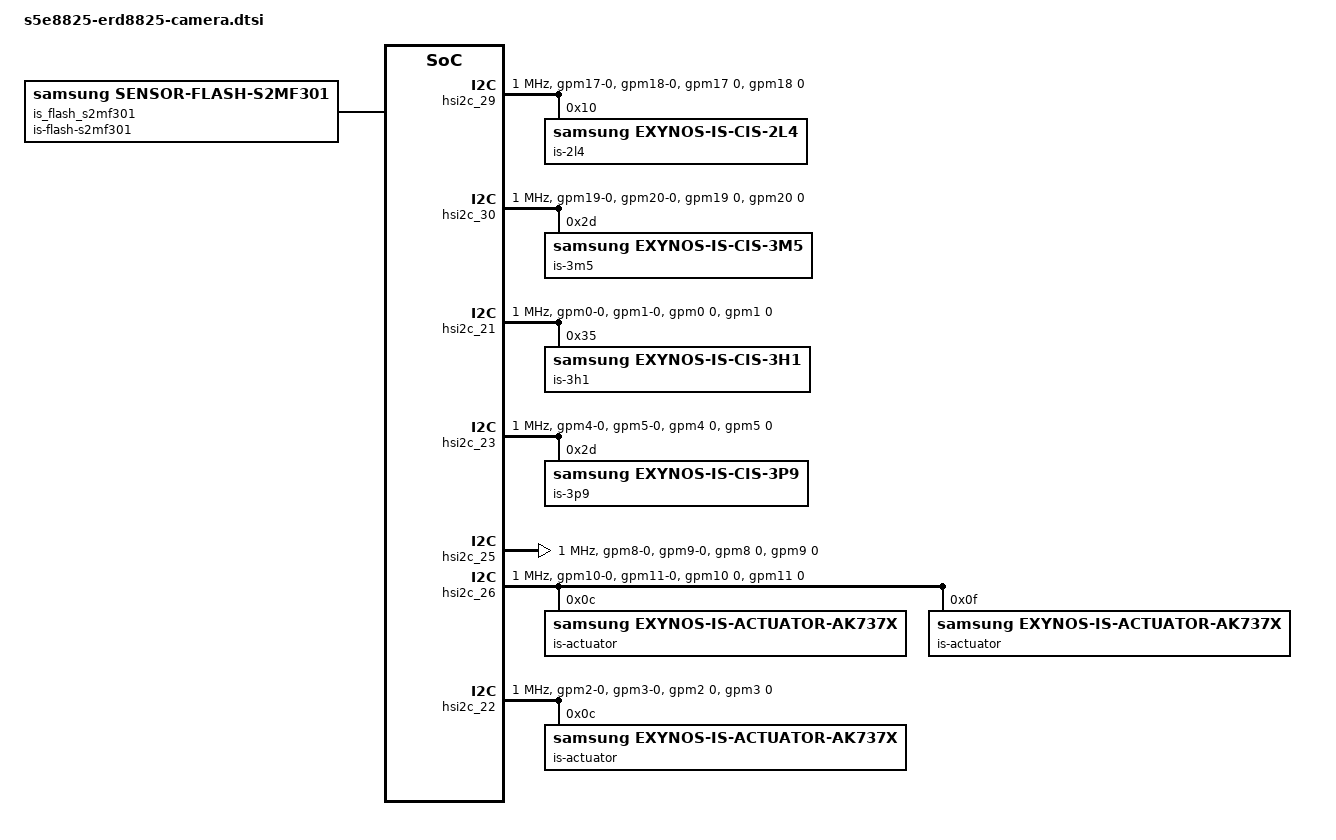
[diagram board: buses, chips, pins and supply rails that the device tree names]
/*
 * Samsung Exynos SoC series Pablo driver
 *
 * Copyright (c) 2020 Samsung Electronics Co., Ltd
 *
 * This program is free software; you can redistribute it and/or modify
 * it under the terms of the GNU General Public License version 2 as
 * published by the Free Software Foundation.
 */

#include <dt-bindings/camera/exynos_is_dt.h>

#include "module_2l4.dtsi"
#include "module_3m5.dtsi"
#include "module_3p9.dtsi"
#include "module_3h1_26m.dtsi"

/ {
	fragment@camera {
		target-path = "/";
		__overlay__ {
			#address-cells = <2>;
			#size-cells = <1>;
			interrupt-parent = <&gic>;

			/* REAR CAMERA */
			is_sensor_2l4: is_sensor_2l4@20 {
				pinctrl-names = "pin0", "pin1", "pin2", "release";
				pinctrl-0 = <>;
				pinctrl-1 = <&sensor_mclk0_out>;
				pinctrl-2 = <&sensor_mclk0_fn>;
				pinctrl-3 = <>;

				/* board */
				position = <0>;	/* Rear:0. Front:1. Rear_sub:2. Secure:3. */
				id = <0>; /* is_sensor id */
				mclk_ch = <0>;
				sensor_i2c_ch = <1>; /* SENSOR_CONTROL_I2C1 */

				/* peri */
				af {
					product_name = <18>; /* ACTUATOR_NAME_AK737X : ak7371 or ak7374 */
					i2c_ch = <3>; /* SENSOR_CONTROL_I2C3 */
				};

				flash {
					product_name = <19>; /* S2MF301 */
				};

				ois {
					product_name = <100>; /* NOTHING */
				};

				vc_extra {
					/* ex) statX = <stat_type, sensor_mode, max_width, max_height, max_element> */
					stat0 = </* not avaliable */>;									/* VC_BUF_DATA_TYPE_SENSOR_STAT1 */
					stat1 = </*VC_STAT_TYPE_PDP_3_1_PDAF_STAT0*/ 1000 /*VC_SENSOR_MODE_2PD_MODE3*/ 102 1756 1 1>;	/* VC_BUF_DATA_TYPE_GENERAL_STAT1 */
					stat2 = </* not avaliable */>;									/* VC_BUF_DATA_TYPE_SENSOR_STAT2 */
					stat3 = </*VC_STAT_TYPE_PDP_3_1_PDAF_STAT1*/ 1001 /*VC_SENSOR_MODE_2PD_MODE3*/ 102 39424 1 1>;	/* VC_BUF_DATA_TYPE_GENERAL_STAT2 */
				};

				modes {
					mode0 {
						common = <4032 3024 30 0 0 CSI_DATA_LANES_4 2054 CSI_MODE_VC_DT LRTE_DISABLE PD_MOD3 EX_NONE>;
						vc3 = </* in */ 0 HW_FORMAT_EMBEDDED_8BIT 0 0	/* out */ HW_FORMAT_USER VC_PRIVATE 1756 1>;
					};
					mode1 {
						common = <4032 2268 60 0 1 CSI_DATA_LANES_4 2177 CSI_MODE_VC_DT LRTE_DISABLE PD_MOD3 EX_NONE>;
						vc3 = </* in */ 0 HW_FORMAT_EMBEDDED_8BIT 0 0	/* out */ HW_FORMAT_USER VC_PRIVATE 1756 1>;
					};
					mode2 {
						common = <4032 2268 30 0 2 CSI_DATA_LANES_4 2054 CSI_MODE_VC_DT LRTE_DISABLE PD_MOD3 EX_NONE>;
						vc3 = </* in */ 0 HW_FORMAT_EMBEDDED_8BIT 0 0	/* out */ HW_FORMAT_USER VC_PRIVATE 1756 1>;
					};
					mode3 {
						common = <4032 1908 30 0 3 CSI_DATA_LANES_4 2054 CSI_MODE_VC_DT LRTE_DISABLE PD_MOD3 EX_NONE>;
						vc3 = </* in */ 0 HW_FORMAT_EMBEDDED_8BIT 0 0	/* out */ HW_FORMAT_USER VC_PRIVATE 1756 1>;
					};
					mode4 {
						common = <3024 3024 30 0 4 CSI_DATA_LANES_4 2054 CSI_MODE_VC_DT LRTE_DISABLE PD_MOD3 EX_NONE>;
						vc3 = </* in */ 0 HW_FORMAT_EMBEDDED_8BIT 0 0	/* out */ HW_FORMAT_USER VC_PRIVATE 1756 1>;
					};
					mode5 {
						common = <2016 1512 30 0 5 CSI_DATA_LANES_4 1352 CSI_MODE_VC_DT LRTE_DISABLE PD_MOD3 EX_NONE>;
						vc3 = </* in */ 0 HW_FORMAT_EMBEDDED_8BIT 0 0	/* out */ HW_FORMAT_USER VC_PRIVATE 1756 1>;
					};
					mode6 {
						common = <2016 1134 30 0 6 CSI_DATA_LANES_4 1352 CSI_MODE_VC_DT LRTE_DISABLE PD_MOD3 EX_NONE>;
						vc3 = </* in */ 0 HW_FORMAT_EMBEDDED_8BIT 0 0	/* out */ HW_FORMAT_USER VC_PRIVATE 1756 1>;
					};
					mode7 {
						common = <1504 1504 30 0 7 CSI_DATA_LANES_4 1352 CSI_MODE_VC_DT LRTE_DISABLE PD_MOD3 EX_NONE>;
						vc3 = </* in */ 0 HW_FORMAT_EMBEDDED_8BIT 0 0	/* out */ HW_FORMAT_USER VC_PRIVATE 1756 1>;
					};
					/* MODE 3 - 24fps LIVE FOCUS */
					mode8 {
						common = <4032 3024 24 0 8 CSI_DATA_LANES_4 2054 CSI_MODE_VC_DT LRTE_DISABLE PD_MOD3 EX_LIVEFOCUS>;
						vc3 = </* in */ 0 HW_FORMAT_EMBEDDED_8BIT 0 0	/* out */ HW_FORMAT_USER VC_PRIVATE 1756 1>;
					};
					mode9 {
						common = <4032 2268 24 0 9 CSI_DATA_LANES_4 2054 CSI_MODE_VC_DT LRTE_DISABLE PD_MOD3 EX_LIVEFOCUS>;
						vc3 = </* in */ 0 HW_FORMAT_EMBEDDED_8BIT 0 0	/* out */ HW_FORMAT_USER VC_PRIVATE 1756 1>;
					};
					mode10 {
						common = <4032 1908 24 0 10 CSI_DATA_LANES_4 2054 CSI_MODE_VC_DT LRTE_DISABLE PD_MOD3 EX_LIVEFOCUS>;
						vc3 = </* in */ 0 HW_FORMAT_EMBEDDED_8BIT 0 0	/* out */ HW_FORMAT_USER VC_PRIVATE 1756 1>;
					};
					mode11 {
						common = <3024 3024 24 0 11 CSI_DATA_LANES_4 2054 CSI_MODE_VC_DT LRTE_DISABLE PD_MOD3 EX_LIVEFOCUS>;
						vc3 = </* in */ 0 HW_FORMAT_EMBEDDED_8BIT 0 0	/* out */ HW_FORMAT_USER VC_PRIVATE 1756 1>;
					};
					/* MODE 2 */
					mode12 {
						common = <2016 1134 240 0 12 CSI_DATA_LANES_4 2054 CSI_MODE_VC_DT LRTE_DISABLE PD_NONE EX_NONE>;
						vc3 = </* in */ 0 HW_FORMAT_EMBEDDED_8BIT 0 0	/* out */ HW_FORMAT_UNKNOWN VC_NOTHING 0 0>;
					};
					mode13 {
						common = <1008 756 120 0 13 CSI_DATA_LANES_4 2054 CSI_MODE_VC_DT LRTE_DISABLE PD_NONE EX_NONE>;
						vc3 = </* in */ 0 HW_FORMAT_EMBEDDED_8BIT 0 0	/* out */ HW_FORMAT_UNKNOWN VC_NOTHING 0 0>;
					};
				};

				power_seq {
					use = <1>;
					gpio_mclk = <&gpg0 2 0x1>;

					scenario_normal_on {
						sensor_scenario = <SENSOR_SCENARIO_NORMAL>;
						gpio_scenario = <GPIO_SCENARIO_ON>;

						/* A start node number should be over the 10 for reserved number 0~9. */
						/* pname = "name"; pin = <act value dealy voltage>; gpio = <gpx# # 0x1>; */
						10 { pname = "sen_rst low"; pin = <PIN_OUTPUT 0 0>; gpio = <&gpg1 0 0x1>; };
						20 { pname = "S2MPB03_LD04"; pin = <PIN_REGULATOR 1 1 1025000>; };
						30 { pname = "VDDA_2.8V_SUB"; pin = <PIN_REGULATOR 1 0>; };
						40 { pname = "VDDA_2.8V_CAM"; pin = <PIN_REGULATOR 1 1>; };
						50 { pname = "VDDD_1.05V_SUB"; pin = <PIN_REGULATOR 1 1>; };
						60 { pname = "VDD_VM_2.8V_OIS"; pin = <PIN_REGULATOR 1 1>; };
						70 { pname = "VDDIO_1.8V_CAM"; pin = <PIN_REGULATOR 1 1>; };
						80 { pname = "VDDAF_COMMON_CAM"; pin = <PIN_REGULATOR 1 1>; };
						90 { pname = "VDDD_1.05V_CAM"; pin = <PIN_REGULATOR 1 1000>; };
						100 { pname; pin; };
						110 { pname = "on_i2c"; pin = <PIN_I2C 1 0>; };
						120 { pname = "pin"; pin = <PIN_FUNCTION 2 0>; };
						130 { pname = "MCLK"; pin = <PIN_MCLK 1 1500>; share = <SRT_ACQUIRE SHARED_PIN0 1>; };
						140 { pname = "sen_rst high"; pin = <PIN_OUTPUT 1 3000>; gpio = <&gpg1 0 0x1>; };
						150 { pname; pin; gpio; };
					};

					scenario_vision_on {
						sensor_scenario = <SENSOR_SCENARIO_VISION>;
						gpio_scenario = <GPIO_SCENARIO_ON>;

						/* A start node number should be over the 10 for reserved number 0~9. */
						/* pname = "name"; pin = <act value dealy voltage>; gpio = <gpx# # 0x1>; */
						10 { pname = "sen_rst low"; pin = <PIN_OUTPUT 0 0>; gpio = <&gpg1 0 0x1>; };
						20 { pname = "S2MPB03_LD04"; pin = <PIN_REGULATOR 1 1 1025000>; };
						30 { pname = "VDDA_2.8V_SUB"; pin = <PIN_REGULATOR 1 0>; };
						40 { pname = "VDDA_2.8V_CAM"; pin = <PIN_REGULATOR 1 1>; };
						50 { pname = "VDDD_1.05V_SUB"; pin = <PIN_REGULATOR 1 1>; };
						60 { pname = "VDD_VM_2.8V_OIS"; pin = <PIN_REGULATOR 1 1>; };
						70 { pname = "VDDIO_1.8V_CAM"; pin = <PIN_REGULATOR 1 1>; };
						80 { pname = "VDDAF_COMMON_CAM"; pin = <PIN_REGULATOR 1 1>; };
						90 { pname = "VDDD_1.05V_CAM"; pin = <PIN_REGULATOR 1 1000>; };
						100 { pname; pin; };
						110 { pname = "on_i2c"; pin = <PIN_I2C 1 0>; };
						120 { pname = "pin"; pin = <PIN_FUNCTION 2 0>; };
						130 { pname = "MCLK"; pin = <PIN_MCLK 1 1500>; share = <SRT_ACQUIRE SHARED_PIN0 1>; };
						140 { pname = "sen_rst high"; pin = <PIN_OUTPUT 1 3000>; gpio = <&gpg1 0 0x1>; };
						150 { pname; pin; gpio; };
					};

					scenario_hw_init_normal_on {
						/* HW INIT (without ois power control) */
						sensor_scenario = <SENSOR_SCENARIO_HW_INIT>;
						gpio_scenario = <GPIO_SCENARIO_ON>;

						10 { pname; pin; gpio; };
						20 { pname; pin; gpio; };
						30 { pname; pin; gpio; };
						40 { pname; pin; gpio; };
						50 { pname; pin; gpio; };
						60 { pname; pin; gpio; };
						70 { pname; pin; gpio; };
						80 { pname; pin; gpio; };
						90 { pname; pin; gpio; };
						100 { pname; pin; gpio; };
						110 { pname; pin; gpio; };
						120 { pname; pin; gpio; };
					};

					scenario_normal_off {
						sensor_scenario = <SENSOR_SCENARIO_NORMAL>;
						gpio_scenario = <GPIO_SCENARIO_OFF>;

						/* A start node number should be over the 10 for reserved number 0~9. */
						/* pname = "name"; pin = <act value dealy voltage>; gpio = <gpx# # 0x1>; */
						10 { pname = "VDD_VM_2.8V_OIS"; pin = <PIN_REGULATOR 0 10>; };
						20 { pname = "VDDD_1.05V_CAM"; pin = <PIN_REGULATOR 0 1>; };
						30 { pname = "VDDD_1.05V_SUB"; pin = <PIN_REGULATOR 0 10>; };
						40 { pname = "VDDA_2.8V_SUB"; pin = <PIN_REGULATOR 0 0>; };
						50 { pname = "VDDA_2.8V_CAM"; pin = <PIN_REGULATOR 0 0>; };
						60 { pname = "MCLK"; pin = <PIN_MCLK 0 0>; share = <SRT_RELEASE SHARED_PIN0 0>; };
						70 { pname = "pin"; pin = <PIN_FUNCTION 0 0>; };
						80 { pname = "pin"; pin = <PIN_FUNCTION 1 0>; };
						90 { pname = "pin"; pin = <PIN_FUNCTION 0 0>; };
						100 { pname = "sen_rst low"; pin = <PIN_OUTPUT 0 10>; gpio = <&gpg1 0 0x1>; };
						110 { pname; pin; gpio; };
						120 { pname = "off_i2c"; pin = <PIN_I2C 0 0>; };
						130 { pname; pin; gpio; };
						140 { pname = "VDDAF_COMMON_CAM"; pin = <PIN_REGULATOR 0 0>; };
						150 { pname = "S2MPB03_LD04"; pin = <PIN_REGULATOR 0 100>; };
						160 { pname = "VDDIO_1.8V_CAM"; pin = <PIN_REGULATOR 0 10>; };
					};

					scenario_vision_off {
						sensor_scenario = <SENSOR_SCENARIO_VISION>;
						gpio_scenario = <GPIO_SCENARIO_OFF>;

						/* A start node number should be over the 10 for reserved number 0~9. */
						/* pname = "name"; pin = <act value dealy voltage>; gpio = <gpx# # 0x1>; */
						10 { pname = "VDD_VM_2.8V_OIS"; pin = <PIN_REGULATOR 0 10>; };
						20 { pname = "VDDD_1.05V_CAM"; pin = <PIN_REGULATOR 0 1>; };
						30 { pname = "VDDD_1.05V_SUB"; pin = <PIN_REGULATOR 0 10>; };
						40 { pname = "VDDA_2.8V_SUB"; pin = <PIN_REGULATOR 0 0>; };
						50 { pname = "VDDA_2.8V_CAM"; pin = <PIN_REGULATOR 0 0>; };
						60 { pname = "MCLK"; pin = <PIN_MCLK 0 0>; share = <SRT_RELEASE SHARED_PIN0 0>; };
						70 { pname = "pin"; pin = <PIN_FUNCTION 0 0>; };
						80 { pname = "pin"; pin = <PIN_FUNCTION 1 0>; };
						90 { pname = "pin"; pin = <PIN_FUNCTION 0 0>; };
						100 { pname = "sen_rst low"; pin = <PIN_OUTPUT 0 10>; gpio = <&gpg1 0 0x1>; };
						110 { pname; pin; gpio; };
						120 { pname = "off_i2c"; pin = <PIN_I2C 0 0>; };
						130 { pname; pin; gpio; };
						140 { pname = "VDDAF_COMMON_CAM"; pin = <PIN_REGULATOR 0 0>; };
						150 { pname = "S2MPB03_LD04"; pin = <PIN_REGULATOR 0 100>; };
						160 { pname = "VDDIO_1.8V_CAM"; pin = <PIN_REGULATOR 0 10>; };
					};

					scenario_retention_on {
						sensor_scenario = <SENSOR_SCENARIO_NORMAL>;
						gpio_scenario = <GPIO_SCENARIO_SENSOR_RETENTION_ON>;

						/* A start node number should be over the 10 for reserved number 0~9. */
						/* pname = "name"; pin = <act value dealy voltage>; gpio = <gpx# # 0x1>; */
						10 { pname; pin; gpio; };
						20 { pname; pin; gpio; };
						30 { pname; pin; gpio; };
						40 { pname; pin; gpio; };
						50 { pname; pin; gpio; };
						60 { pname; pin; gpio; };
						70 { pname; pin; gpio; };
						80 { pname; pin; gpio; };
						90 { pname; pin; gpio; };
						100 { pname; pin; gpio; };
						110 { pname; pin; gpio; };
						120 { pname; pin; gpio; };
						130 { pname; pin; gpio; };
						140 { pname; pin; gpio; };
						150 { pname; pin; gpio; };
					};

					scenario_hw_init_retention_on {
						/* RETENTION ON HW INIT(without ois power control) */
						sensor_scenario = <SENSOR_SCENARIO_HW_INIT>;
						gpio_scenario = <GPIO_SCENARIO_SENSOR_RETENTION_ON>;

						10 { pname; pin; gpio; };
						20 { pname; pin; gpio; };
						30 { pname; pin; gpio; };
						40 { pname; pin; gpio; };
						50 { pname; pin; gpio; };
						60 { pname; pin; gpio; };
						70 { pname; pin; gpio; };
						80 { pname; pin; gpio; };
						90 { pname; pin; gpio; };
						100 { pname; pin; gpio; };
						110 { pname; pin; gpio; };
						120 { pname; pin; gpio; };
					};

					scenario_ois_factory_on {
						sensor_scenario = <SENSOR_SCENARIO_OIS_FACTORY>;
						gpio_scenario = <GPIO_SCENARIO_ON>;

						/* A start node number should be over the 10 for reserved number 0~9. */
						/* pname = "name"; pin = <act value dealy voltage>; gpio = <gpx# # 0x1>; */
						10 { pname; pin; gpio; };
						20 { pname; pin; gpio; };
						30 { pname; pin; gpio; };
						40 { pname; pin; gpio; };
						50 { pname; pin; gpio; };
						60 { pname; pin; gpio; };
						70 { pname; pin; gpio; };
					};

					scenario_ois_factory_off {
						sensor_scenario = <SENSOR_SCENARIO_OIS_FACTORY>;
						gpio_scenario = <GPIO_SCENARIO_OFF>;

						/* A start node number should be over the 10 for reserved number 0~9. */
						/* pname = "name"; pin = <act value dealy voltage>; gpio = <gpx# # 0x1>; */
						10 { pname; pin; gpio; };
						20 { pname; pin; gpio; };
						30 { pname; pin; gpio; };
						40 { pname; pin; gpio; };
						50 { pname; pin; gpio; };
						60 { pname; pin; gpio; };
						70 { pname; pin; gpio; };
					};

					scenario_read_rom_on {
						sensor_scenario = <SENSOR_SCENARIO_READ_ROM>;
						gpio_scenario = <GPIO_SCENARIO_ON>;

						/* A start node number should be over the 10 for reserved number 0~9. */
						/* pname = "name"; pin = <act value dealy voltage>; gpio = <gpx# # 0x1>; */
						10 { pname; pin; gpio; };
						20 { pname; pin; gpio; };
						30 { pname; pin; gpio; };
						40 { pname; pin; gpio; };
					};

					scenario_read_rom_off {
						sensor_scenario = <SENSOR_SCENARIO_READ_ROM>;
						gpio_scenario = <GPIO_SCENARIO_OFF>;

						/* A start node number should be over the 10 for reserved number 0~9. */
						/* pname = "name"; pin = <act value dealy voltage>; gpio = <gpx# # 0x1>; */
						10 { pname; pin; gpio; };
						20 { pname; pin; gpio; };
						30 { pname; pin; gpio; };
						40 { pname; pin; gpio; };
					};
				};
			};

			/* Tele CAMERA */
			is_sensor_3m5: is_sensor_3m5@64 {
				pinctrl-names = "pin0", "pin1", "pin2", "release";
				pinctrl-0 = <>;
				pinctrl-1 = <&sensor_mclk0_out>;
				pinctrl-2 = <&sensor_mclk0_fn>;
				pinctrl-3 = <>;

				/* board */
				position = <2>; /* Rear:0. Front:1, Tele:2 */
				id = <2>; /* is_sensor id */
				mclk_ch = <0>;
				sensor_i2c_ch = <0>; /* SENSOR_CONTROL_I2C0 */

				af {
					product_name = <18>; /* ACTUATOR_NAME_AK737X : ak7371 or ak7374 or ak7377*/
					i2c_ch = <3>; /* SENSOR_CONTROL_I2C3 */
				};

				flash {
					product_name = <100>; /* NOTHING */
				};

				preprocessor {
					product_name = <100>; /* NOTHING */
				};

				vc_extra {
					/* ex) statX = <stat_type, sensor_mode, max_width, max_height, max_element> */
					stat0 = </* not avaliable */>;			/* VC_BUF_DATA_TYPE_SENSOR_STAT1 */
					stat1 = </* not avaliable */>;			/* VC_BUF_DATA_TYPE_SENSOR_STAT1 */
					stat2 = </* not avaliable */>;			/* VC_BUF_DATA_TYPE_SENSOR_STAT2 */
					stat3 = </* not avaliable */>;			/* VC_BUF_DATA_TYPE_SENSOR_STAT2 */
				};

				/* sensor modes */
				modes {
					/* common = <width, height, fps, settle, mode, lane, speed, interleave, lrte, pd_mode> */
					/* vcX = <map, hwformat, width, height, hwformat, type, width, height> */
					mode0 {
						common = <2592 1944 30 0 0 CSI_DATA_LANES_2 1456 CSI_MODE_VC_DT LRTE_DISABLE PD_NONE EX_NONE>;
						vc0 = </* in */ 0 HW_FORMAT_RAW10 2592 1944     /* out */ HW_FORMAT_AND10 VC_NOTHING 2592 1944>;
						vc1 = </* in */ 1 HW_FORMAT_UNKNOWN 0 0         /* out */ HW_FORMAT_UNKNOWN VC_NOTHING 0 0>;
					};
				};

				power_seq {
					use = <1>;
					gpio_mclk = <&gpg0 2 0x1>;

					scenario_normal_on {
						sensor_scenario = <SENSOR_SCENARIO_NORMAL>;
						gpio_scenario = <GPIO_SCENARIO_ON>;

						/* A start node number should be over the 10 for reserved number 0~9. */
						/* pname = "name"; pin = <act value dealy voltage>; gpio = <gpx# # 0x1>; */
						10 { pname = "sen_rst low"; pin = <PIN_OUTPUT 0 0>; gpio = <&gpg1 1 0x1>; };
						20 { pname = "VDDAF_2.8V_SUB"; pin = <PIN_REGULATOR 1 1>; };
						30 { pname = "VDDPHY_1.05V_CAM"; pin = <PIN_REGULATOR 1 1>; };
						40 { pname = "S2MPB02_LD15"; pin = <PIN_REGULATOR 1 1>; };
						50 { pname = "VDDIO_1.8V_SUB"; pin = <PIN_REGULATOR 1 1000>; };
						60 { pname = "on_i2c"; pin = <PIN_I2C 1 0>; };
						70 { pname = "sen_rst high"; pin = <PIN_OUTPUT 1 0>; gpio = <&gpg1 1 0x1>; };
						80 { pname = "pin"; pin = <PIN_FUNCTION 2 0>; };
						90 { pname = "MCLK"; pin = <PIN_MCLK 1 1000>; share = <SRT_ACQUIRE SHARED_PIN0 1>; };
					};

					scenario_vision_on {
						sensor_scenario = <SENSOR_SCENARIO_VISION>;
						gpio_scenario = <GPIO_SCENARIO_ON>;

						/* A start node number should be over the 10 for reserved number 0~9. */
						/* pname = "name"; pin = <act value dealy voltage>; gpio = <gpx# # 0x1>; */
						10 { pname = "sen_rst low"; pin = <PIN_OUTPUT 0 0>; gpio = <&gpg1 1 0x1>; };
						20 { pname = "VDDAF_2.8V_SUB"; pin = <PIN_REGULATOR 1 1>; };
						30 { pname = "VDDPHY_1.05V_CAM"; pin = <PIN_REGULATOR 1 1>; };
						40 { pname = "S2MPB02_LD15"; pin = <PIN_REGULATOR 1 1>; };
						50 { pname = "VDDIO_1.8V_SUB"; pin = <PIN_REGULATOR 1 1000>; };
						60 { pname = "on_i2c"; pin = <PIN_I2C 1 0>; };
						70 { pname = "sen_rst high"; pin = <PIN_OUTPUT 1 0>; gpio = <&gpg1 1 0x1>; };
						80 { pname = "pin"; pin = <PIN_FUNCTION 2 0>; };
						90 { pname = "MCLK"; pin = <PIN_MCLK 1 1000>; share = <SRT_ACQUIRE SHARED_PIN0 1>; };
					};

					scenario_normal_off {
						sensor_scenario = <SENSOR_SCENARIO_NORMAL>;
						gpio_scenario = <GPIO_SCENARIO_OFF>;

						/* A start node number should be over the 10 for reserved number 0~9. */
						/* pname = "name"; pin = <act value dealy voltage>; gpio = <gpx# # 0x1>; */
						10 { pname = "sen_rst low"; pin = <PIN_OUTPUT 0 10>; gpio = <&gpg1 1 0x1>; };
						20 { pname = "off_i2c"; pin = <PIN_I2C 0 0>; };
						30 { pname = "S2MPB02_LD15"; pin = <PIN_REGULATOR 0 1>; };
						40 { pname = "VDDAF_2.8V_SUB"; pin = <PIN_REGULATOR 0 1>; };
						50 { pname = "VDDIO_1.8V_SUB"; pin = <PIN_REGULATOR 0 1>; };
						60 { pname = "VDDPHY_1.05V_CAM"; pin = <PIN_REGULATOR 0 100>; };
						70 { pname = "MCLK"; pin = <PIN_MCLK 0 1>; };
						80 { pname = "pin"; pin = <PIN_FUNCTION 0 0>; };
						90 { pname = "pin"; pin = <PIN_FUNCTION 1 0>; };
						100 { pname = "pin"; pin = <PIN_FUNCTION 0 0>; share = <SRT_RELEASE SHARED_PIN0 0>; };
					};

					scenario_vision_off {
						sensor_scenario = <SENSOR_SCENARIO_VISION>;
						gpio_scenario = <GPIO_SCENARIO_OFF>;

						/* A start node number should be over the 10 for reserved number 0~9. */
						/* pname = "name"; pin = <act value dealy voltage>; gpio = <gpx# # 0x1>; */
						10 { pname = "sen_rst low"; pin = <PIN_OUTPUT 0 10>; gpio = <&gpg1 1 0x1>; };
						20 { pname = "off_i2c"; pin = <PIN_I2C 0 0>; };
						30 { pname = "S2MPB02_LD15"; pin = <PIN_REGULATOR 0 1>; };
						40 { pname = "VDDAF_2.8V_SUB"; pin = <PIN_REGULATOR 0 1>; };
						50 { pname = "VDDIO_1.8V_SUB"; pin = <PIN_REGULATOR 0 1>; };
						60 { pname = "VDDPHY_1.05V_CAM"; pin = <PIN_REGULATOR 0 100>; };
						70 { pname = "MCLK"; pin = <PIN_MCLK 0 1>; };
						80 { pname = "pin"; pin = <PIN_FUNCTION 0 0>; };
						90 { pname = "pin"; pin = <PIN_FUNCTION 1 0>; };
						100 { pname = "pin"; pin = <PIN_FUNCTION 0 0>; share = <SRT_RELEASE SHARED_PIN0 0>; };
					};
				};
			};

			/* Ultra Wide CAMERA */
			is_sensor_3p9: is_sensor_3p9@2D {
				pinctrl-names = "pin0", "pin1", "pin2", "release";
				pinctrl-0 = <>;
				pinctrl-1 = <&sensor_mclk1_out>;
				pinctrl-2 = <&sensor_mclk1_fn>;
				pinctrl-3 = <>;

				/* board */
				position = <4>; /* Rear:0. Front:1, Tele:2 */
				id = <4>; /* is_sensor id */
				mclk_ch = <1>;
				sensor_i2c_ch = <5>; /* SENSOR_CONTROL_I2C5 */

				af {
					product_name = <100>; /* NOTHING */
				};

				flash {
					product_name = <100>; /* NOTHING */
				};

				preprocessor {
					product_name = <100>; /* NOTHING */
				};

				ois {
					product_name = <100>; /* NOTHING */
				};

				power_seq {
					use = <1>;
					gpio_mclk = <&gpg0 3 0x1>;

					scenario_normal_on {
						sensor_scenario = <SENSOR_SCENARIO_NORMAL>;
						gpio_scenario = <GPIO_SCENARIO_ON>;

						/* A start node number should be over the 10 for reserved number 0~9. */
						/* pname = "name"; pin = <act value dealy voltage>; gpio = <gpx# # 0x1>; */
						10 { pname = "sen_rst low"; pin = <PIN_OUTPUT 0 0>; gpio = <&gpm6 0 0x1>; };
						20 { pname = "VDDA_2.8V_WIDESUB"; pin = <PIN_REGULATOR 1 0>; };
						30 { pname = "VDDIO_1.8V_WIDESUB"; pin = <PIN_REGULATOR 1 0>; };
						40 { pname = "VDDD_1.05V_WIDESUB"; pin = <PIN_REGULATOR 1 0>; };
						50 { pname = "on_i2c"; pin = <PIN_I2C 1 0>; };
						60 { pname = "pin"; pin = <PIN_FUNCTION 2 0>; };
						70 { pname = "MCLK"; pin = <PIN_MCLK 1 0>; };
						80 { pname = "sen_rst high"; pin = <PIN_OUTPUT 1 0>; gpio = <&gpm6 0 0x1>; };
					};

					scenario_normal_off {
						sensor_scenario = <SENSOR_SCENARIO_NORMAL>;
						gpio_scenario = <GPIO_SCENARIO_OFF>;

						/* A start node number should be over the 10 for reserved number 0~9. */
						/* pname = "name"; pin = <act value dealy voltage>; gpio = <gpx# # 0x1>; */
						10 { pname = "VDDA_2.8V_WIDESUB"; pin = <PIN_REGULATOR 0 0>; };
						20 { pname = "VDDD_1.05V_WIDESUB"; pin = <PIN_REGULATOR 0 0>; };
						30 { pname = "MCLK"; pin = <PIN_MCLK 0 0>; };
						40 { pname = "pin"; pin = <PIN_FUNCTION 0 0>; };
						50 { pname = "sen_rst"; pin = <PIN_OUTPUT 0 0>; gpio = <&gpm6 0 0x1>; };
						60 { pname = "off_i2c"; pin = <PIN_I2C 0 0>; };
						70 { pname = "VDDIO_1.8V_WIDESUB"; pin = <PIN_REGULATOR 0 0>; };
					};

					scenario_vision_on {
						sensor_scenario = <SENSOR_SCENARIO_VISION>;
						gpio_scenario = <GPIO_SCENARIO_ON>;

						/* A start node number should be over the 10 for reserved number 0~9. */
						/* pname = "name"; pin = <act value dealy voltage>; gpio = <gpx# # 0x1>; */
						10 { pname = "sen_rst low"; pin = <PIN_OUTPUT 0 0>; gpio = <&gpm6 0 0x1>; };
						20 { pname = "VDDA_2.8V_WIDESUB"; pin = <PIN_REGULATOR 1 0>; };
						30 { pname = "VDDIO_1.8V_WIDESUB"; pin = <PIN_REGULATOR 1 0>; };
						40 { pname = "VDDD_1.05V_WIDESUB"; pin = <PIN_REGULATOR 1 0>; };
						50 { pname = "on_i2c"; pin = <PIN_I2C 1 0>; };
						60 { pname = "pin"; pin = <PIN_FUNCTION 2 0>; };
						70 { pname = "MCLK"; pin = <PIN_MCLK 1 0>; };
						80 { pname = "sen_rst high"; pin = <PIN_OUTPUT 1 0>; gpio = <&gpm6 0 0x1>; };
					};

					scenario_vision_off {
						sensor_scenario = <SENSOR_SCENARIO_VISION>;
						gpio_scenario = <GPIO_SCENARIO_OFF>;

						/* A start node number should be over the 10 for reserved number 0~9. */
						/* pname = "name"; pin = <act value dealy voltage>; gpio = <gpx# # 0x1>; */
						10 { pname = "VDDA_2.8V_WIDESUB"; pin = <PIN_REGULATOR 0 0>; };
						20 { pname = "VDDD_1.05V_WIDESUB"; pin = <PIN_REGULATOR 0 0>; };
						30 { pname = "MCLK"; pin = <PIN_MCLK 0 0>; };
						40 { pname = "pin"; pin = <PIN_FUNCTION 0 0>; };
						50 { pname = "sen_rst"; pin = <PIN_OUTPUT 0 0>; gpio = <&gpm6 0 0x1>; };
						60 { pname = "off_i2c"; pin = <PIN_I2C 0 0>; };
						70 { pname = "VDDIO_1.8V_WIDESUB"; pin = <PIN_REGULATOR 0 0>; };
					};
				};
			};

			/* FRONT CAMERA */
			is_sensor_3h1: is_sensor_3h1@31 {
				pinctrl-names = "pin0", "pin1", "pin2", "release";
				pinctrl-0 = <>;
				pinctrl-1 = <&sensor_mclk2_out>;
				pinctrl-2 = <&sensor_mclk2_fn>;
				pinctrl-3 = <>;

				/* board */
				position = <1>;	/* Rear:0. Front:1. Rear_sub:2. Secure:3. */
				id = <1>; /* is_sensor id */
				mclk_ch = <2>;
				sensor_i2c_ch = <4>; /* SENSOR_CONTROL_I2C4 */

				/* peri*/
				af {
					product_name = <18>; /* ACTUATOR_NAME_AK737X */
					i2c_ch = <7>; /* SENSOR_CONTROL_I2C7 */
				};

				flash {
					product_name = <100>; /* NOTHING */
				};

				ois {
					product_name = <100>; /* NOTHING */
				};

				vc_extra {
					/* ex) statX = <stat_type, sensor_mode, max_width, max_height, max_element> */
					stat0 = </* not avaliable */>;									/* VC_BUF_DATA_TYPE_SENSOR_STAT1 */
					stat1 = </* not avaliable */>;									/* VC_BUF_DATA_TYPE_SENSOR_STAT1 */
					stat2 = </* not avaliable */>;									/* VC_BUF_DATA_TYPE_SENSOR_STAT2 */
					stat3 = </* not avaliable */>;									/* VC_BUF_DATA_TYPE_SENSOR_STAT2 */
				};

				power_seq {
					use = <1>;
					gpio_mclk = <&gpg0 4 0x1>;

					scenario_normal_on {
						sensor_scenario = <SENSOR_SCENARIO_NORMAL>;
						gpio_scenario = <GPIO_SCENARIO_ON>;

						/* A start node number should be over the 10 for reserved number 0~9. */
						/* pname = "name"; pin = <act value dealy voltage>; gpio = <gpx# # 0x1>; */
						10 { pname = "sen_rst low"; pin = <PIN_OUTPUT 0 0>; gpio = <&gpm13 0 0x1>; };
						20 { pname = "VDDAF_2.8V_VT"; pin = <PIN_REGULATOR 1 1>; };
						30 { pname = "VDD_2.8V_VT"; pin = <PIN_REGULATOR 1 1>; };
						40 { pname = "VDDIO_1.8V_VT"; pin = <PIN_REGULATOR 1 1>; };
						50 { pname = "VDDD_1.05V_VT"; pin = <PIN_REGULATOR 1 1000>; };
						60 { pname = "on_i2c"; pin = <PIN_I2C 1 0>; };
						70 { pname = "sen_rst high"; pin = <PIN_OUTPUT 1 0>; gpio = <&gpm13 0 0x1>; };
						80 { pname = "pin"; pin = <PIN_FUNCTION 2 0>; };
						90 { pname = "MCLK"; pin = <PIN_MCLK 1 9000>; };
					};

					scenario_vision_on {
						sensor_scenario = <SENSOR_SCENARIO_VISION>;
						gpio_scenario = <GPIO_SCENARIO_ON>;

						/* A start node number should be over the 10 for reserved number 0~9. */
						/* pname = "name"; pin = <act value dealy voltage>; gpio = <gpx# # 0x1>; */
						10 { pname = "sen_rst low"; pin = <PIN_OUTPUT 0 0>; gpio = <&gpm13 0 0x1>; };
						20 { pname = "VDDAF_2.8V_VT"; pin = <PIN_REGULATOR 1 1>; };
						30 { pname = "VDD_2.8V_VT"; pin = <PIN_REGULATOR 1 1>; };
						40 { pname = "VDDIO_1.8V_VT"; pin = <PIN_REGULATOR 1 1>; };
						50 { pname = "VDDD_1.05V_VT"; pin = <PIN_REGULATOR 1 1000>; };
						60 { pname = "on_i2c"; pin = <PIN_I2C 1 0>; };
						70 { pname = "sen_rst high"; pin = <PIN_OUTPUT 1 0>; gpio = <&gpm13 0 0x1>; };
						80 { pname = "pin"; pin = <PIN_FUNCTION 2 0>; };
						90 { pname = "MCLK"; pin = <PIN_MCLK 1 9000>; };
					};

					scenario_normal_off {
						sensor_scenario = <SENSOR_SCENARIO_NORMAL>;
						gpio_scenario = <GPIO_SCENARIO_OFF>;

						/* A start node number should be over the 10 for reserved number 0~9. */
						/* pname = "name"; pin = <act value dealy voltage>; gpio = <gpx# # 0x1>; */
						10 { pname = "MCLK"; pin = <PIN_MCLK 0 1>; };
						20 { pname = "pin"; pin = <PIN_FUNCTION 0 0>; };
						30 { pname = "pin"; pin = <PIN_FUNCTION 1 0>; };
						40 { pname = "pin"; pin = <PIN_FUNCTION 0 0>; };
						50 { pname = "sen_rst low"; pin = <PIN_OUTPUT 0 10>; gpio = <&gpm13 0 0x1>; };
						60 { pname = "off_i2c"; pin = <PIN_I2C 0 0>; };
						70 { pname = "VDDAF_2.8V_VT"; pin = <PIN_REGULATOR 0 1>; };
						80 { pname = "VDD_2.8V_VT"; pin = <PIN_REGULATOR 0 1>; };
						90 { pname = "VDDIO_1.8V_VT"; pin = <PIN_REGULATOR 0 1>; };
						100 { pname = "VDDD_1.05V_VT"; pin = <PIN_REGULATOR 0 100>; };
					};

					scenario_vision_off {
						sensor_scenario = <SENSOR_SCENARIO_VISION>;
						gpio_scenario = <GPIO_SCENARIO_OFF>;

						/* A start node number should be over the 10 for reserved number 0~9. */
						/* pname = "name"; pin = <act value dealy voltage>; gpio = <gpx# # 0x1>; */
						10 { pname = "MCLK"; pin = <PIN_MCLK 0 1>; };
						20 { pname = "pin"; pin = <PIN_FUNCTION 0 0>; };
						30 { pname = "pin"; pin = <PIN_FUNCTION 1 0>; };
						40 { pname = "pin"; pin = <PIN_FUNCTION 0 0>; };
						50 { pname = "sen_rst low"; pin = <PIN_OUTPUT 0 10>; gpio = <&gpm13 0 0x1>; };
						60 { pname = "off_i2c"; pin = <PIN_I2C 0 0>; };
						70 { pname = "VDDAF_2.8V_VT"; pin = <PIN_REGULATOR 0 1>; };
						80 { pname = "VDD_2.8V_VT"; pin = <PIN_REGULATOR 0 1>; };
						90 { pname = "VDDIO_1.8V_VT"; pin = <PIN_REGULATOR 0 1>; };
						100 { pname = "VDDD_1.05V_VT"; pin = <PIN_REGULATOR 0 100>; };
					};

					scenario_read_rom_on {
						sensor_scenario = <SENSOR_SCENARIO_READ_ROM>;
						gpio_scenario = <GPIO_SCENARIO_ON>;

						/* A start node number should be over the 10 for reserved number 0~9. */
						/* pname = "name"; pin = <act value dealy voltage>; gpio = <gpx# # 0x1>; */
						10 { pname; pin; gpio; };
						20 { pname; pin; gpio; };
					};

					scenario_read_rom_off {
						sensor_scenario = <SENSOR_SCENARIO_READ_ROM>;
						gpio_scenario = <GPIO_SCENARIO_OFF>;

						/* A start node number should be over the 10 for reserved number 0~9. */
						/* pname = "name"; pin = <act value dealy voltage>; gpio = <gpx# # 0x1>; */
						10 { pname; pin; gpio; };
						20 { pname; pin; gpio; };
					};
				};
			};

			is_flash_s2mf301: is-flash-s2mf301@0 {
				compatible = "samsung,sensor-flash-s2mf301";
				sensor-module = <&is_sensor_2l4>;
				id = <0>;
				led_ch = <1>;
				status = "okay";
			};

			/* REAR CAMERA */
			is_sensor0: is_sensor0@15030000 {
				#address-cells = <1>;
				#size-cells = <1>;
				scenario = <SENSOR_SCENARIO_NORMAL>;	/* Normal, Vision, OIS etc */
				id = <0>;
				csi_ch = <0>;
				status = "okay";
				use_cphy = <0>;

				interrupts = <0 INTREQ__CSIS0 IRQ_TYPE_LEVEL_HIGH>; /*MIPI-CSI0 */
				interrupt-names = "csi";
				phys = <&mipi_phy_csis0_m0s4s4s4s4s2s1 0>;
				phy_setfile = <&d_phy_setfile>;
			};

			/* FRONT CAMERA */
			is_sensor1: is_sensor1@15040000 {
				#address-cells = <1>;
				#size-cells = <1>;
				reg = <0x0 0x15060000 0x1000>, /* MIPI-CSI3 */
					<0x0 0x150F0000 0x10000>; /* PHY: M0S4S4S4S4S2S1 */
				scenario = <SENSOR_SCENARIO_NORMAL>;    /* Normal, Vision, OIS etc */
				id = <1>;
				csi_ch = <3>;
				status = "okay";
				use_cphy = <0>;

				interrupts = <0 INTREQ__CSIS3 IRQ_TYPE_LEVEL_HIGH>; /* MIPI-CSI3 */
				interrupt-names = "csi";
				phys = <&mipi_phy_csis3_m0s4s4s4s4s2s1 0>;
				phy_setfile = <&d_phy_setfile>;
			};

			/* Tele CAMERA */
			is_sensor2: is_sensor2@15050000 {
				#address-cells = <1>;
				#size-cells = <1>;
				reg = <0x0 0x15040000 0x1000>, /* MIPI-CSI1 */
					<0x0 0x150F0000 0x10000>; /* PHY: M0S4S4S4S4S2S1 */
				scenario = <SENSOR_SCENARIO_NORMAL>;    /* Normal, Vision, OIS etc */
				id = <2>;
				csi_ch = <1>;
				status = "okay";

				interrupts = <0 INTREQ__CSIS1 IRQ_TYPE_LEVEL_HIGH>; /* MIPI-CSI1 */
				interrupt-names = "csi";
				phys = <&mipi_phy_csis1_m0s4s4s4s4s2s1 0>;
				phy_setfile = <&d_phy_setfile>;
			};

			/* ULTRA WIDE CAMERA */
			is_sensor4: is_sensor4@15070000 {
				#address-cells = <1>;
				#size-cells = <1>;
				reg = <0x0 0x15050000 0x1000>, /* MIPI-CSI2 */
					<0x0 0x150F0000 0x10000>; /* PHY: M0S4S4S4S4S2S1 */
				scenario = <SENSOR_SCENARIO_NORMAL>;    /* Normal, Vision, OIS etc */
				id = <4>;
				csi_ch = <2>;
				status = "okay";

				interrupts = <0 INTREQ__CSIS2 IRQ_TYPE_LEVEL_HIGH>; /* MIPI-CSI2 */
				phys = <&mipi_phy_csis2_m0s4s4s4s4s2s1 0>;
				phy_setfile = <&d_phy_setfile>;
			};

			/* FRONT2 CAMERA : 2+2 lane */
			is_sensor3: is_sensor3@15060000 {
				#address-cells = <1>;
				#size-cells = <1>;
				reg = <0x0 0x15070000 0x1000>, /* MIPI-CSI4 */
					<0x0 0x150F0000 0x10000>; /* PHY: M0S4S4S4S4S2S1 */
				scenario = <SENSOR_SCENARIO_NORMAL>;    /* Normal, Vision, OIS etc */
				id = <3>;
				csi_ch = <4>;
				status = "okay";

				interrupts = <0 INTREQ__CSIS4 IRQ_TYPE_LEVEL_HIGH>; /* MIPI-CSI2 */
				phys = <&mipi_phy_csis2_m0s4s4s4s4s2s1 0>;
				phy_setfile = <&phy_setfile_e>;
			};
		}; /* end of __overlay__ */
	}; /* end of fragment */
}; /* end of root */

/***** reference symbol node *****/
/* GPIO_PERI */
&pinctrl_1 {
	/* REAR WIDE : i2c1 */
	hsi2c29_bus: hsi2c29-bus {
		samsung,pins = "gpm17-0", "gpm18-0";
		samsung,pin-function = <2>;
		samsung,pin-pud = <3>;
		samsung,pin-drv = <0>;
	};

	hsi2c29_bus_in: hsi2c29-bus-in {
		samsung,pins = "gpm17-0", "gpm18-0";
		samsung,pin-function = <0>;
		samsung,pin-pud = <3>;
		samsung,pin-drv = <0>;
	};

	/* REAR TELE AF : i2c0 */
	hsi2c26_bus: hsi2c26-bus {
		samsung,pins = "gpm10-0", "gpm11-0";
		samsung,pin-function = <3>;
		samsung,pin-pud = <3>;
		samsung,pin-drv = <0>;
	};

	hsi2c26_bus_in: hsi2c26-bus-in {
		samsung,pins = "gpm10-0", "gpm11-0";
		samsung,pin-function = <0>;
		samsung,pin-pud = <3>;
		samsung,pin-drv = <0>;
	};

	/* REAR OIS i2c2 */
	hsi2c25_bus: hsi2c25-bus {
		samsung,pins = "gpm8-0", "gpm9-0";
		samsung,pin-function = <2>;
		samsung,pin-pud = <3>;
		samsung,pin-drv = <0>;
	};

	hsi2c25_bus_in: hsi2c25-bus-n {
		samsung,pins = "gpm8-0", "gpm9-0";
		samsung,pin-function = <0>;
		samsung,pin-pud = <3>;
		samsung,pin-drv = <0>;
	};

	/* REAR TELE : i2c0 */
	hsi2c30_bus: hsi2c30-bus {
		samsung,pins = "gpm19-0", "gpm20-0";
		samsung,pin-function = <3>;
		samsung,pin-pud = <3>;
		samsung,pin-drv = <0>;
	};

	hsi2c30_bus_in: hsi2c30-bus-in {
		samsung,pins = "gpm19-0", "gpm20-0";
		samsung,pin-function = <0>;
		samsung,pin-pud = <3>;
		samsung,pin-drv = <0>;
	};

	/* FRONT i2c4 */
	hsi2c21_bus: hsi2c21-bus {
		samsung,pins = "gpm0-0", "gpm1-0";
		samsung,pin-function = <2>;
		samsung,pin-pud = <3>;
		samsung,pin-drv = <0>;
	};

	hsi2c21_bus_in: hsi2c21-bus-in {
		samsung,pins = "gpm0-0", "gpm1-0";
		samsung,pin-function = <0>;
		samsung,pin-pud = <3>;
		samsung,pin-drv = <0>;
	};

	/* FRONT EEP/AF i2c7 */
	hsi2c22_bus: hsi2c22-bus {
		samsung,pins = "gpm2-0", "gpm3-0";
		samsung,pin-function = <3>;
		samsung,pin-pud = <3>;
		samsung,pin-drv = <0>;
	};

	hsi2c22_bus_in: hsi2c22-bus-in {
		samsung,pins = "gpm2-0", "gpm3-0";
		samsung,pin-function = <0>;
		samsung,pin-pud = <3>;
		samsung,pin-drv = <0>;
	};

	/* REAR UWIDE i2c5 */
	hsi2c23_bus: hsi2c23-bus {
		samsung,pins = "gpm4-0", "gpm5-0";
		samsung,pin-function = <2>;
		samsung,pin-pud = <3>;
		samsung,pin-drv = <0>;
	};

	hsi2c23_bus_in: hsi2c23-bus-in {
		samsung,pins = "gpm4-0", "gpm5-0";
		samsung,pin-function = <0>;
		samsung,pin-pud = <3>;
		samsung,pin-drv = <0>;
	};

};

&hsi2c_29 {
	#address-cells = <1>;
	#size-cells = <0>;
	gpios = <&gpm17 0 0 &gpm18 0 0>;
	status = "okay";
	clock-frequency = <1000000>;
	samsung,reset-before-trans;
	samsung,fast-plus-mode;

	pinctrl-names = "default","on_i2c","off_i2c";
	pinctrl-0 = <&hsi2c29_bus_in>;
	pinctrl-1 = <&hsi2c29_bus>;
	pinctrl-2 = <&hsi2c29_bus_in>;

	is-2l4@10 {
		compatible = "samsung,exynos-is-cis-2l4";
		sensor-module = <&is_sensor_2l4>;
		reg = <0x10>; /* 1 bit right shift */
		id = <0>; /* matching is_sensor id */
		setfile = "setB";
		status = "okay";
	};
};

&hsi2c_30 {
	#address-cells = <1>;
	#size-cells = <0>;
	gpios = <&gpm19 0 0 &gpm20 0 0>;
	status = "okay";
	clock-frequency = <1000000>;
	samsung,reset-before-trans;
	samsung,fast-plus-mode;

	pinctrl-names = "default","on_i2c","off_i2c";
	pinctrl-0 = <&hsi2c30_bus_in>;
	pinctrl-1 = <&hsi2c30_bus>;
	pinctrl-2 = <&hsi2c30_bus_in>;

	is-3m5@10 {
		compatible = "samsung,exynos-is-cis-3m5";
		sensor-module = <&is_sensor_3m5>;
		reg = <0x2D>; /* 1 bit right shift */
		id = <2>; /* matching is_sensor id */
		setfile = "setC";
		status = "okay";
	};
};

&hsi2c_21 {
	#address-cells = <1>;
	#size-cells = <0>;
	gpios = <&gpm0 0 0 &gpm1 0 0>;
	status = "okay";
	clock-frequency = <1000000>;
	samsung,reset-before-trans;
	samsung,fast-plus-mode;

	pinctrl-names = "default","on_i2c","off_i2c";
	pinctrl-0 = <&hsi2c21_bus_in>;
	pinctrl-1 = <&hsi2c21_bus>;
	pinctrl-2 = <&hsi2c21_bus_in>;

	is-3h1@35 {
		compatible = "samsung,exynos-is-cis-3h1";
		sensor-module = <&is_sensor_3h1>;
		reg = <0x35>; /* 1 bit right shift */
		id = <1>; /* matching is_sensor id */
		setfile = "setA";
		status = "okay";
	};
};

&hsi2c_23 {
	#address-cells = <1>;
	#size-cells = <0>;
	gpios = <&gpm4 0 0 &gpm5 0 0>;
	status = "okay";
	clock-frequency = <1000000>;
	samsung,reset-before-trans;
	samsung,fast-plus-mode;

	pinctrl-names = "default","on_i2c","off_i2c";
	pinctrl-0 = <&hsi2c23_bus_in>;
	pinctrl-1 = <&hsi2c23_bus>;
	pinctrl-2 = <&hsi2c23_bus_in>;

	is-3p9@2d {
		compatible = "samsung,exynos-is-cis-3p9";
		sensor-module = <&is_sensor_3p9>;
		reg = <0x2d>; /* 1 bit right shift */
		id = <4>; /* matching is_sensor id */
		setfile = "setA";
		status = "okay";
	};
};

&hsi2c_25 {
	#address-cells = <1>;
	#size-cells = <0>;
	gpios = <&gpm8 0 0 &gpm9 0 0>;
	status = "okay";
	clock-frequency = <1000000>;
	samsung,reset-before-trans;
	samsung,fast-plus-mode;

	pinctrl-names = "default","on_i2c","off_i2c";
	pinctrl-0 = <&hsi2c25_bus_in>;
	pinctrl-1 = <&hsi2c25_bus>;
	pinctrl-2 = <&hsi2c25_bus_in>;

	/* for OIS */
#if 0
	is-dummy@01 {
		compatible = "samsung,exynos-is-dummy";
		reg = <0x10>;
		status = "okay";
	};
#endif
};

&hsi2c_26 {
	#address-cells = <1>;
	#size-cells = <0>;
	gpios = <&gpm10 0 0 &gpm11 0 0>;
	status = "okay";
	clock-frequency = <1000000>;
	samsung,reset-before-trans;
	samsung,fast-plus-mode;

	pinctrl-names = "default","on_i2c","off_i2c";
	pinctrl-0 = <&hsi2c26_bus_in>;
	pinctrl-1 = <&hsi2c26_bus>;
	pinctrl-2 = <&hsi2c26_bus_in>;

	is-actuator@0C { /* wide AF */
		compatible = "samsung,exynos-is-actuator-ak737x";
		sensor-module = <&is_sensor_2l4>;
		reg = <0x0C>;
		id = <0>; /* matching is_sensor id */
		/* AK737x: addr 0xF3, data 0x0E */
		vendor_product_id = <0xF3 0x0E 0xF3 0x13 0xF3 0x00>;
		vendor_first_pos = <120>;
		vendor_first_delay = <2000>;
		vendor_use_sleep_mode;
		status = "okay";
	};

	is-actuator@0F {
		compatible = "samsung,exynos-is-actuator-ak737x";
		sensor-module = <&is_sensor_3m5>;
		reg = <0x0F>;
		id = <2>; /* matching is_sensor id */
		/* AK7377: addr 0xF3, data 0x0E */
		vendor_product_id = <0xF3 0x0E 0xF3 0x13 0xF3 0x00>;
		vendor_first_pos = <120>;
		vendor_first_delay = <2000>;
		vendor_use_sleep_mode;
		status = "okay";
	};
};

&hsi2c_22 {
	#address-cells = <1>;
	#size-cells = <0>;
	gpios = <&gpm2 0 0 &gpm3 0 0>;
	status = "okay";
	clock-frequency = <1000000>;
	samsung,reset-before-trans;
	samsung,fast-plus-mode;

	pinctrl-names = "default","on_i2c","off_i2c";
	pinctrl-0 = <&hsi2c22_bus_in>;
	pinctrl-1 = <&hsi2c22_bus>;
	pinctrl-2 = <&hsi2c22_bus_in>;

	is-actuator@0C {
		compatible = "samsung,exynos-is-actuator-ak737x";
		sensor-module = <&is_sensor_3h1>;
		reg = <0x0C>;
		id = <1>; /* matching is_sensor id */
		/* AK737x: addr 0xF3, data 0x0E */
		vendor_product_id = <0xF3 0x0E 0xF3 0x13 0xF3 0x00>;
		vendor_first_pos = <120>;
		vendor_first_delay = <2000>;
		vendor_use_sleep_mode;
		status = "okay";
	};
};

&exynos_is {
	vender {
		sensor_name { /* sensor_dev_id = "name" */
			0 = "2L4";
			1 = "3H1";
			2 = "3M5";
			4 = "3P9";
		};
	};

	lic_offsets {
		/* 3AA = <setA lic offset0, setA lic offset1, set A trigger context */
		/*		setB lic offset0, setB lic offset1, set B trigger context> */
		/* 4672: 4640x4352 */
		/* 5824: 5804x4352 */
		3AA = <5461 10922 0 5461 10922 0>;
	};

	buffer_info {
		ypp_buf_max_width = <4608>;	/* defalut value : 5760 */
	};

	is_dvfs {
		#define CPU_CL0	"0-5"
		#define CPU_CL1	"6-7"
		#define CPU_ALL	"0-7"

		table0 {
			desc = "dvfs table v0.2";

			default_cam = <0>;
			default_isp = <0>;
			default_mif = <0>;
			default_int = <0>;
			default_cpu = CPU_CL0;

			rear_single_photo_mif = <3>;
			rear_single_photo_int = <3>;
			rear_single_photo_cpu = CPU_CL0;

			rear_single_photo_full_mif = <2>;
			rear_single_photo_full_int = <3>;
			rear_single_photo_full_cpu = CPU_CL0;

			rear_single_video_fhd30_mif = <3>;
			rear_single_video_fhd30_int = <4>;
			rear_single_video_fhd30_cpu = CPU_CL0;

			rear_single_videohdr_mif = <0>;
			rear_single_videohdr_int = <0>;
			rear_single_videohdr_cpu = CPU_CL0;

			rear_single_video_fhd60_mif = <1>;
			rear_single_video_fhd60_int = <4>;
			rear_single_video_fhd60_cpu = CPU_CL0;

			rear_single_video_uhd30_mif = <1>;
			rear_single_video_uhd30_int = <3>;
			rear_single_video_uhd30_cpu = CPU_CL0;

			rear_single_video_uhd60_mif = <0>;
			rear_single_video_uhd60_int = <0>;
			rear_single_video_uhd60_cpu = CPU_CL0;

			rear_single_capture_isp = <1>;
			rear_single_capture_mif = <0>;
			rear_single_capture_int = <0>;
			rear_single_capture_cpu = CPU_CL0;

			rear_single_video_fhd120_mif = <0>;
			rear_single_video_fhd120_int = <3>;
			rear_single_video_fhd120_cpu = CPU_CL0;

			rear_single_video_fhd240_mif = <0>;
			rear_single_video_fhd240_int = <0>;
			rear_single_video_fhd240_hpg = <8>;
			rear_single_video_fhd240_cpu = CPU_CL0;

			rear_single_video_fhd480_mif = <0>;
			rear_single_video_fhd480_int = <0>;
			rear_single_video_fhd480_cpu = CPU_CL0;

			rear_single_video_hd240_mif = <0>;
			rear_single_video_hd240_int = <3>;
			rear_single_video_hd240_hpg = <8>;
			rear_single_video_hd240_cpu = CPU_CL0;

			rear_single_ssm_isp = <0>;
			rear_single_ssm_mif = <0>;
			rear_single_ssm_int = <0>;
			rear_single_ssm_cpu = CPU_CL0;

			rear_single_video_8k24_mif = <0>;
			rear_single_video_8k24_int = <0>;
			rear_single_video_8k24_cpu = CPU_CL0;

			rear_single_video_8k30_mif = <0>;
			rear_single_video_8k30_int = <0>;
			rear_single_video_8k30_cpu = CPU_CL0;

			rear_single_remosaic_photo_mif = <0>;
			rear_single_remosaic_photo_int = <0>;
			rear_single_remosaic_photo_cpu = CPU_CL0;

			rear_single_remosaic_capture_isp = <0>;
			rear_single_remosaic_capture_mif = <0>;
			rear_single_remosaic_capture_int = <0>;
			rear_single_remosaic_capture_cpu = CPU_CL0;

			rear_single_fastae_mif = <0>;
			rear_single_fastae_int = <0>;
			rear_single_fastae_cpu = CPU_CL0;

			rear_dual_tele_ultrawide_photo_mif = <0>;
			rear_dual_tele_ultrawide_photo_int = <0>;
			rear_dual_tele_ultrawide_photo_cpu = CPU_CL0;

			rear_dual_wide_tele_photo_mif = <0>;
			rear_dual_wide_tele_photo_int = <0>;
			rear_dual_wide_tele_photo_cpu = CPU_CL0;

			rear_dual_wide_tele_video_fhd30_mif = <0>;
			rear_dual_wide_tele_video_fhd30_int = <0>;
			rear_dual_wide_tele_video_fhd30_cpu = CPU_CL0;

			rear_dual_wide_tele_video_uhd30_mif = <0>;
			rear_dual_wide_tele_video_uhd30_int = <0>;
			rear_dual_wide_tele_video_uhd30_cpu = CPU_CL0;

			rear_dual_wide_tele_capture_isp = <0>;
			rear_dual_wide_tele_capture_mif = <0>;
			rear_dual_wide_tele_capture_int = <0>;
			rear_dual_wide_tele_capture_cpu = CPU_CL0;

			rear_dual_wide_ultrawide_photo_mif = <0>;
			rear_dual_wide_ultrawide_photo_int = <0>;
			rear_dual_wide_ultrawide_photo_cpu = CPU_CL0;

			rear_dual_wide_ultrawide_video_fhd30_mif = <0>;
			rear_dual_wide_ultrawide_video_fhd30_int = <0>;
			rear_dual_wide_ultrawide_video_fhd30_cpu = CPU_CL0;

			rear_dual_wide_ultrawide_video_uhd30_mif = <0>;
			rear_dual_wide_ultrawide_video_uhd30_int = <0>;
			rear_dual_wide_ultrawide_video_uhd30_cpu = CPU_CL0;

			rear_dual_wide_ultrawide_capture_isp = <0>;
			rear_dual_wide_ultrawide_capture_mif = <0>;
			rear_dual_wide_ultrawide_capture_int = <0>;
			rear_dual_wide_ultrawide_capture_cpu = CPU_CL0;

			triple_photo_mif = <0>;
			triple_photo_int = <0>;
			triple_photo_cpu = CPU_CL0;

			triple_video_fhd30_mif = <0>;
			triple_video_fhd30_int = <0>;
			triple_video_fhd30_cpu = CPU_CL0;

			triple_video_uhd30_mif = <0>;
			triple_video_uhd30_int = <0>;
			triple_video_uhd30_cpu = CPU_CL0;

			triple_video_fhd60_mif = <0>;
			triple_video_fhd60_int = <0>;
			triple_video_fhd60_cpu = CPU_CL0;

			triple_video_uhd60_mif = <0>;
			triple_video_uhd60_int = <0>;
			triple_video_uhd60_cpu = CPU_CL0;

			triple_capture_isp = <0>;
			triple_capture_mif = <0>;
			triple_capture_int = <0>;
			triple_capture_cpu = CPU_CL0;

			front_single_photo_mif = <2>;
			front_single_photo_int = <3>;
			front_single_photo_cpu = CPU_CL0;

			front_single_photo_full_mif = <2>;
			front_single_photo_full_int = <3>;
			front_single_photo_full_cpu = CPU_CL0;

			front_single_video_fhd30_mif = <2>;
			front_single_video_fhd30_int = <3>;
			front_single_video_fhd30_cpu = CPU_CL0;

			front_single_video_uhd30_mif = <1>;
			front_single_video_uhd30_int = <3>;
			front_single_video_uhd30_cpu = CPU_CL0;

			front_single_video_fhd60_mif = <1>;
			front_single_video_fhd60_int = <3>;
			front_single_video_fhd60_cpu = CPU_CL0;

			front_single_video_uhd60_mif = <0>;
			front_single_video_uhd60_int = <0>;
			front_single_video_uhd60_cpu = CPU_CL0;

			front_single_capture_isp = <2>;
			front_single_capture_mif = <2>;
			front_single_capture_int = <1>;
			front_single_capture_cpu = CPU_CL0;

			front_single_vt_mif = <2>;
			front_single_vt_int = <3>;
			front_single_vt_cpu = CPU_CL0;

			front_single_video_fhd120_mif = <0>;
			front_single_video_fhd120_int = <0>;
			front_single_video_fhd120_cpu = CPU_CL0;

			pip_dual_photo_mif = <0>;
			pip_dual_photo_int = <0>;
			pip_dual_photo_cpu = CPU_CL0;

			pip_dual_capture_isp = <0>;
			pip_dual_capture_mif = <0>;
			pip_dual_capture_int = <0>;
			pip_dual_capture_cpu = CPU_CL0;

			pip_dual_video_fhd30_mif = <0>;
			pip_dual_video_fhd30_int = <0>;
			pip_dual_video_fhd30_cpu = CPU_CL0;

			ext_rear_single_cam = <0>;
			ext_rear_single_isp = <0>;
			ext_rear_single_mif = <0>;
			ext_rear_single_int = <0>;
			ext_rear_single_cpu = CPU_CL0;

			ext_front_secure_cam = <0>;
			ext_front_secure_isp = <0>;
			ext_front_secure_mif = <0>;
			ext_front_secure_int = <0>;
			ext_front_secure_cpu = CPU_CL0;

			ext_throttling_cam = <0>;
			ext_throttling_isp = <0>;
			ext_throttling_mif = <2>;
			ext_throttling_int = <0>;
			ext_throttling_hpg = <0>;
			ext_throttling_cpu = CPU_CL0;

			max_cam = <0>;
			max_isp = <0>;
			max_mif = <0>;
			max_int = <0>;
			max_cpu = CPU_CL0;
		};
	};
};
